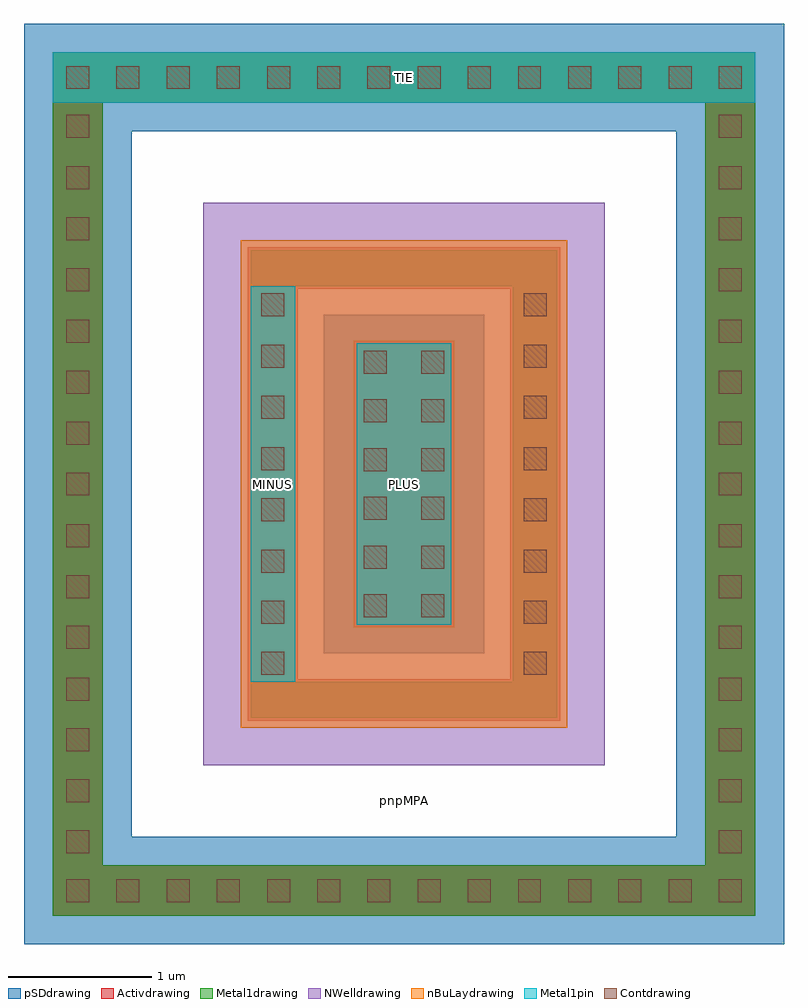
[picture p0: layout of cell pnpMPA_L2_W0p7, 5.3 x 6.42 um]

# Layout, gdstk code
import gdstk
lib = gdstk.Library(unit=1e-6, precision=1e-09)
def R(c, l, rs):  # rectangles x0, y0, x1, y1
    for r in rs: c.add(gdstk.rectangle(r[:2], r[2:], *l))
def P(c, l, *ps):  # polygons
    for p in ps: c.add(gdstk.Polygon(p, *l))
Activdrawing = (1, 0)
Contdrawing = (6, 0)
Metal1drawing = (8, 0)
Metal1pin = (8, 2)
pSDdrawing = (14, 0)
NWelldrawing = (31, 0)
nBuLaydrawing = (32, 0)

rectangle_gdsfactorypcom = lib.new_cell('rectangle_gdsfactorypcomponentspshapesprectangle_S0p700_4cae727d')
R(rectangle_gdsfactorypcom, Activdrawing, [(0,0,0.7,2)])

c_rectangle_gdsfactorypcom = lib.new_cell('rectangle_gdsfactorypcomponentspshapesprectangle_S1p12__f5ff6255')
R(c_rectangle_gdsfactorypcom, pSDdrawing, [(0,0,1.12,2.36)])

c_rectangle_gdsfactorypcom_ = lib.new_cell('rectangle_gdsfactorypcomponentspshapesprectangle_S0p16__bf15bdcd')
R(c_rectangle_gdsfactorypcom_, Contdrawing, [(0,0,0.16,0.16)])

unnamed_549 = lib.new_cell('Unnamed_549')
P(unnamed_549, Activdrawing, [(-1.09,-1.65),(-1.09,1.36),(-0.74,1.36),(-0.74,-1.36),(0.74,-1.36),(0.74,1.36),(-1.09,1.36),(-1.09,1.65),(1.09,1.65),(1.09,-1.65)])

unnamed_554 = lib.new_cell('Unnamed_554')
P(unnamed_554, Metal1drawing, [(-1.07,-1.63),(-1.07,1.38),(-0.76,1.38),(-0.76,-1.38),(0.76,-1.38),(0.76,1.38),(-1.07,1.38),(-1.07,1.63),(1.07,1.63),(1.07,-1.63)])

c_rectangle_gdsfactorypcom__ = lib.new_cell('rectangle_gdsfactorypcomponentspshapesprectangle_S2p280_5368f5d8')
R(c_rectangle_gdsfactorypcom__, nBuLaydrawing, [(0,0,2.28,3.4)])

c_rectangle_gdsfactorypcom___ = lib.new_cell('rectangle_gdsfactorypcomponentspshapesprectangle_S2p800_ee7501a8')
R(c_rectangle_gdsfactorypcom___, NWelldrawing, [(0,0,2.8,3.92)])

unnamed_563 = lib.new_cell('Unnamed_563')
P(unnamed_563, pSDdrawing, [(-2.65,-3.21),(-2.65,2.46),(-1.9,2.46),(-1.9,-2.46),(1.9,-2.46),(1.9,2.46),(-2.65,2.46),(-2.65,3.21),(2.65,3.21),(2.65,-3.21)])

unnamed_568 = lib.new_cell('Unnamed_568')
P(unnamed_568, Activdrawing, [(-2.45,-3.01),(-2.45,2.66),(-2.1,2.66),(-2.1,-2.66),(2.1,-2.66),(2.1,2.66),(-2.45,2.66),(-2.45,3.01),(2.45,3.01),(2.45,-3.01)])

unnamed_573 = lib.new_cell('Unnamed_573')
P(unnamed_573, Metal1drawing, [(-2.45,-3.01),(-2.45,2.66),(-2.1,2.66),(-2.1,-2.66),(2.1,-2.66),(2.1,2.66),(-2.45,2.66),(-2.45,3.01),(2.45,3.01),(2.45,-3.01)])

c_rectangle_gdsfactorypcom____ = lib.new_cell('rectangle_gdsfactorypcomponentspshapesprectangle_S4p9_0_560c9741')
R(c_rectangle_gdsfactorypcom____, Metal1pin, [(0,0,4.9,0.35)])

c_rectangle_gdsfactorypcom_____ = lib.new_cell('rectangle_gdsfactorypcomponentspshapesprectangle_S0p66__b743f8af')
R(c_rectangle_gdsfactorypcom_____, Metal1pin, [(0,0,0.66,1.96)])

c_rectangle_gdsfactorypcom______ = lib.new_cell('rectangle_gdsfactorypcomponentspshapesprectangle_S0p66__d4d98202')
R(c_rectangle_gdsfactorypcom______, Metal1drawing, [(0,0,0.66,1.96)])

c_rectangle_gdsfactorypcom_______ = lib.new_cell('rectangle_gdsfactorypcomponentspshapesprectangle_S0p310_54b55823')
R(c_rectangle_gdsfactorypcom_______, Metal1pin, [(0,0,0.31,2.76)])

pnpmpa_l2_w0p7 = lib.new_cell('pnpMPA_L2_W0p7')
pnpmpa_l2_w0p7.add(gdstk.Reference(rectangle_gdsfactorypcom, (-0.35,-1)))
pnpmpa_l2_w0p7.add(gdstk.Reference(c_rectangle_gdsfactorypcom, (-0.56,-1.18)))
pnpmpa_l2_w0p7.add(gdstk.Reference(c_rectangle_gdsfactorypcom_, (-0.28,-0.93)))
pnpmpa_l2_w0p7.add(gdstk.Reference(c_rectangle_gdsfactorypcom_, (-0.28,-0.59)))
pnpmpa_l2_w0p7.add(gdstk.Reference(c_rectangle_gdsfactorypcom_, (-0.28,-0.25)))
pnpmpa_l2_w0p7.add(gdstk.Reference(c_rectangle_gdsfactorypcom_, (-0.28,0.09)))
pnpmpa_l2_w0p7.add(gdstk.Reference(c_rectangle_gdsfactorypcom_, (-0.28,0.43)))
pnpmpa_l2_w0p7.add(gdstk.Reference(c_rectangle_gdsfactorypcom_, (-0.28,0.77)))
pnpmpa_l2_w0p7.add(gdstk.Reference(c_rectangle_gdsfactorypcom_, (0.12,-0.93)))
pnpmpa_l2_w0p7.add(gdstk.Reference(c_rectangle_gdsfactorypcom_, (0.12,-0.59)))
pnpmpa_l2_w0p7.add(gdstk.Reference(c_rectangle_gdsfactorypcom_, (0.12,-0.25)))
pnpmpa_l2_w0p7.add(gdstk.Reference(c_rectangle_gdsfactorypcom_, (0.12,0.09)))
pnpmpa_l2_w0p7.add(gdstk.Reference(c_rectangle_gdsfactorypcom_, (0.12,0.43)))
pnpmpa_l2_w0p7.add(gdstk.Reference(c_rectangle_gdsfactorypcom_, (0.12,0.77)))
pnpmpa_l2_w0p7.add(gdstk.Reference(c_rectangle_gdsfactorypcom_, (-0.995,-1.33)))
pnpmpa_l2_w0p7.add(gdstk.Reference(c_rectangle_gdsfactorypcom_, (-0.995,-0.975)))
pnpmpa_l2_w0p7.add(gdstk.Reference(unnamed_549, (0,0)))
pnpmpa_l2_w0p7.add(gdstk.Reference(unnamed_554, (0,0)))
pnpmpa_l2_w0p7.add(gdstk.Reference(c_rectangle_gdsfactorypcom_, (-0.995,-0.62)))
pnpmpa_l2_w0p7.add(gdstk.Reference(c_rectangle_gdsfactorypcom_, (-0.995,-0.26)))
pnpmpa_l2_w0p7.add(gdstk.Reference(c_rectangle_gdsfactorypcom_, (-0.995,0.095)))
pnpmpa_l2_w0p7.add(gdstk.Reference(c_rectangle_gdsfactorypcom_, (-0.995,0.455)))
pnpmpa_l2_w0p7.add(gdstk.Reference(c_rectangle_gdsfactorypcom_, (-0.995,0.81)))
pnpmpa_l2_w0p7.add(gdstk.Reference(c_rectangle_gdsfactorypcom_, (-0.995,1.17)))
pnpmpa_l2_w0p7.add(gdstk.Reference(c_rectangle_gdsfactorypcom_, (0.835,-1.33)))
pnpmpa_l2_w0p7.add(gdstk.Reference(c_rectangle_gdsfactorypcom_, (0.835,-0.975)))
pnpmpa_l2_w0p7.add(gdstk.Reference(c_rectangle_gdsfactorypcom_, (0.835,-0.62)))
pnpmpa_l2_w0p7.add(gdstk.Reference(c_rectangle_gdsfactorypcom_, (0.835,-0.26)))
pnpmpa_l2_w0p7.add(gdstk.Reference(c_rectangle_gdsfactorypcom_, (0.835,0.095)))
pnpmpa_l2_w0p7.add(gdstk.Reference(c_rectangle_gdsfactorypcom_, (0.835,0.455)))
pnpmpa_l2_w0p7.add(gdstk.Reference(c_rectangle_gdsfactorypcom_, (0.835,0.81)))
pnpmpa_l2_w0p7.add(gdstk.Reference(c_rectangle_gdsfactorypcom_, (0.835,1.17)))
pnpmpa_l2_w0p7.add(gdstk.Reference(c_rectangle_gdsfactorypcom__, (-1.14,-1.7)))
pnpmpa_l2_w0p7.add(gdstk.Reference(c_rectangle_gdsfactorypcom___, (-1.4,-1.96)))
pnpmpa_l2_w0p7.add(gdstk.Reference(c_rectangle_gdsfactorypcom_, (-2.355,2.755)))
pnpmpa_l2_w0p7.add(gdstk.Reference(c_rectangle_gdsfactorypcom_, (-2.005,2.755)))
pnpmpa_l2_w0p7.add(gdstk.Reference(unnamed_563, (0,0)))
pnpmpa_l2_w0p7.add(gdstk.Reference(unnamed_568, (0,0)))
pnpmpa_l2_w0p7.add(gdstk.Reference(unnamed_573, (0,0)))
pnpmpa_l2_w0p7.add(gdstk.Reference(c_rectangle_gdsfactorypcom_, (-1.655,2.755)))
pnpmpa_l2_w0p7.add(gdstk.Reference(c_rectangle_gdsfactorypcom_, (-1.305,2.755)))
pnpmpa_l2_w0p7.add(gdstk.Reference(c_rectangle_gdsfactorypcom_, (-0.955,2.755)))
pnpmpa_l2_w0p7.add(gdstk.Reference(c_rectangle_gdsfactorypcom_, (-0.605,2.755)))
pnpmpa_l2_w0p7.add(gdstk.Reference(c_rectangle_gdsfactorypcom_, (-0.255,2.755)))
pnpmpa_l2_w0p7.add(gdstk.Reference(c_rectangle_gdsfactorypcom_, (0.095,2.755)))
pnpmpa_l2_w0p7.add(gdstk.Reference(c_rectangle_gdsfactorypcom_, (0.445,2.755)))
pnpmpa_l2_w0p7.add(gdstk.Reference(c_rectangle_gdsfactorypcom_, (0.795,2.755)))
pnpmpa_l2_w0p7.add(gdstk.Reference(c_rectangle_gdsfactorypcom_, (1.145,2.755)))
pnpmpa_l2_w0p7.add(gdstk.Reference(c_rectangle_gdsfactorypcom_, (1.495,2.755)))
pnpmpa_l2_w0p7.add(gdstk.Reference(c_rectangle_gdsfactorypcom_, (1.845,2.755)))
pnpmpa_l2_w0p7.add(gdstk.Reference(c_rectangle_gdsfactorypcom_, (2.195,2.755)))
pnpmpa_l2_w0p7.add(gdstk.Reference(c_rectangle_gdsfactorypcom____, (-2.45,2.66)))
pnpmpa_l2_w0p7.add(gdstk.Reference(c_rectangle_gdsfactorypcom_, (-2.355,-2.915)))
pnpmpa_l2_w0p7.add(gdstk.Reference(c_rectangle_gdsfactorypcom_, (-2.005,-2.915)))
pnpmpa_l2_w0p7.add(gdstk.Reference(c_rectangle_gdsfactorypcom_, (-1.655,-2.915)))
pnpmpa_l2_w0p7.add(gdstk.Reference(c_rectangle_gdsfactorypcom_, (-1.305,-2.915)))
pnpmpa_l2_w0p7.add(gdstk.Reference(c_rectangle_gdsfactorypcom_, (-0.955,-2.915)))
pnpmpa_l2_w0p7.add(gdstk.Reference(c_rectangle_gdsfactorypcom_, (-0.605,-2.915)))
pnpmpa_l2_w0p7.add(gdstk.Reference(c_rectangle_gdsfactorypcom_, (-0.255,-2.915)))
pnpmpa_l2_w0p7.add(gdstk.Reference(c_rectangle_gdsfactorypcom_, (0.095,-2.915)))
pnpmpa_l2_w0p7.add(gdstk.Reference(c_rectangle_gdsfactorypcom_, (0.445,-2.915)))
pnpmpa_l2_w0p7.add(gdstk.Reference(c_rectangle_gdsfactorypcom_, (0.795,-2.915)))
pnpmpa_l2_w0p7.add(gdstk.Reference(c_rectangle_gdsfactorypcom_, (1.145,-2.915)))
pnpmpa_l2_w0p7.add(gdstk.Reference(c_rectangle_gdsfactorypcom_, (1.495,-2.915)))
pnpmpa_l2_w0p7.add(gdstk.Reference(c_rectangle_gdsfactorypcom_, (1.845,-2.915)))
pnpmpa_l2_w0p7.add(gdstk.Reference(c_rectangle_gdsfactorypcom_, (2.195,-2.915)))
pnpmpa_l2_w0p7.add(gdstk.Reference(c_rectangle_gdsfactorypcom_, (-2.355,-2.575)))
pnpmpa_l2_w0p7.add(gdstk.Reference(c_rectangle_gdsfactorypcom_, (-2.355,-2.22)))
pnpmpa_l2_w0p7.add(gdstk.Reference(c_rectangle_gdsfactorypcom_, (-2.355,-1.865)))
pnpmpa_l2_w0p7.add(gdstk.Reference(c_rectangle_gdsfactorypcom_, (-2.355,-1.51)))
pnpmpa_l2_w0p7.add(gdstk.Reference(c_rectangle_gdsfactorypcom_, (-2.355,-1.15)))
pnpmpa_l2_w0p7.add(gdstk.Reference(c_rectangle_gdsfactorypcom_, (-2.355,-0.795)))
pnpmpa_l2_w0p7.add(gdstk.Reference(c_rectangle_gdsfactorypcom_, (-2.355,-0.44)))
pnpmpa_l2_w0p7.add(gdstk.Reference(c_rectangle_gdsfactorypcom_, (-2.355,-0.08)))
pnpmpa_l2_w0p7.add(gdstk.Reference(c_rectangle_gdsfactorypcom_, (-2.355,0.275)))
pnpmpa_l2_w0p7.add(gdstk.Reference(c_rectangle_gdsfactorypcom_, (-2.355,0.63)))
pnpmpa_l2_w0p7.add(gdstk.Reference(c_rectangle_gdsfactorypcom_, (-2.355,0.985)))
pnpmpa_l2_w0p7.add(gdstk.Reference(c_rectangle_gdsfactorypcom_, (-2.355,1.345)))
pnpmpa_l2_w0p7.add(gdstk.Reference(c_rectangle_gdsfactorypcom_, (-2.355,1.7)))
pnpmpa_l2_w0p7.add(gdstk.Reference(c_rectangle_gdsfactorypcom_, (-2.355,2.055)))
pnpmpa_l2_w0p7.add(gdstk.Reference(c_rectangle_gdsfactorypcom_, (-2.355,2.415)))
pnpmpa_l2_w0p7.add(gdstk.Reference(c_rectangle_gdsfactorypcom_, (2.195,-2.575)))
pnpmpa_l2_w0p7.add(gdstk.Reference(c_rectangle_gdsfactorypcom_, (2.195,-2.22)))
pnpmpa_l2_w0p7.add(gdstk.Reference(c_rectangle_gdsfactorypcom_, (2.195,-1.865)))
pnpmpa_l2_w0p7.add(gdstk.Reference(c_rectangle_gdsfactorypcom_, (2.195,-1.51)))
pnpmpa_l2_w0p7.add(gdstk.Reference(c_rectangle_gdsfactorypcom_, (2.195,-1.15)))
pnpmpa_l2_w0p7.add(gdstk.Reference(c_rectangle_gdsfactorypcom_, (2.195,-0.795)))
pnpmpa_l2_w0p7.add(gdstk.Reference(c_rectangle_gdsfactorypcom_, (2.195,-0.44)))
pnpmpa_l2_w0p7.add(gdstk.Reference(c_rectangle_gdsfactorypcom_, (2.195,-0.08)))
pnpmpa_l2_w0p7.add(gdstk.Reference(c_rectangle_gdsfactorypcom_, (2.195,0.275)))
pnpmpa_l2_w0p7.add(gdstk.Reference(c_rectangle_gdsfactorypcom_, (2.195,0.63)))
pnpmpa_l2_w0p7.add(gdstk.Reference(c_rectangle_gdsfactorypcom_, (2.195,0.985)))
pnpmpa_l2_w0p7.add(gdstk.Reference(c_rectangle_gdsfactorypcom_, (2.195,1.345)))
pnpmpa_l2_w0p7.add(gdstk.Reference(c_rectangle_gdsfactorypcom_, (2.195,1.7)))
pnpmpa_l2_w0p7.add(gdstk.Reference(c_rectangle_gdsfactorypcom_, (2.195,2.055)))
pnpmpa_l2_w0p7.add(gdstk.Reference(c_rectangle_gdsfactorypcom_, (2.195,2.415)))
pnpmpa_l2_w0p7.add(gdstk.Reference(c_rectangle_gdsfactorypcom_____, (-0.33,-0.98)))
pnpmpa_l2_w0p7.add(gdstk.Reference(c_rectangle_gdsfactorypcom______, (-0.33,-0.98)))
pnpmpa_l2_w0p7.add(gdstk.Reference(c_rectangle_gdsfactorypcom_______, (-1.07,-1.38)))
pnpmpa_l2_w0p7.add(gdstk.Label('PLUS', (0,0), layer=63, texttype=0))
pnpmpa_l2_w0p7.add(gdstk.Label('MINUS', (-0.915,0), layer=63, texttype=0))
pnpmpa_l2_w0p7.add(gdstk.Label('pnpMPA', (0,-2.21), layer=63, texttype=0))
pnpmpa_l2_w0p7.add(gdstk.Label('TIE', (0,2.835), layer=63, texttype=0))

lib.write_gds('pnpMPA_L2_W0p7.gds')
